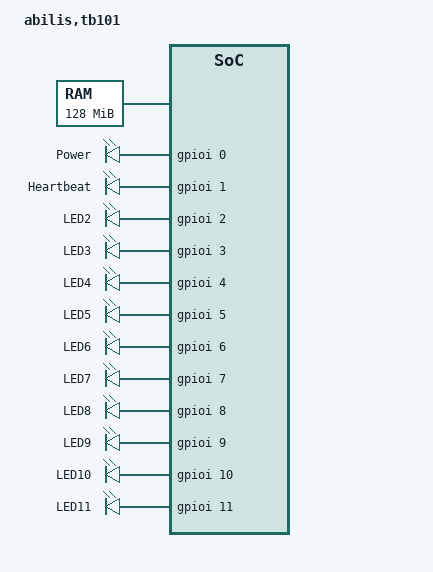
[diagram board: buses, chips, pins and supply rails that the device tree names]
// SPDX-License-Identifier: GPL-2.0-only
/*
 * Abilis Systems TB101 Development Kit PCB device tree
 *
 * Copyright (C) Abilis Systems 2013
 *
 * Author: Christian Ruppert <christian.ruppert@abilis.com>
 */

/dts-v1/;

/include/ "abilis_tb101.dtsi"

/ {
	model = "abilis,tb101";
	chosen {
		bootargs = "earlycon=uart8250,mmio32,0xff100000,9600n8 console=ttyS0,9600n8";
	};

	aliases { };

	memory {
		device_type = "memory";
		reg = <0x80000000 0x08000000>;	/* 128M */
	};

	soc100 {
		uart@ff100000 {
			pinctrl-names = "default";
			pinctrl-0 = <&pctl_uart0>;
		};
		ethernet@fe100000 {
			phy-mode = "rgmii";
		};

		i2c0: i2c@ff120000 {
			i2c-sda-hold-time-ns = <432>;
		};
		i2c1: i2c@ff121000 {
			i2c-sda-hold-time-ns = <432>;
		};
		i2c2: i2c@ff122000 {
			i2c-sda-hold-time-ns = <432>;
		};
		i2c3: i2c@ff123000 {
			i2c-sda-hold-time-ns = <432>;
		};
		i2c4: i2c@ff124000 {
			i2c-sda-hold-time-ns = <432>;
		};

		leds {
			compatible = "gpio-leds";
			power {
				label = "Power";
				gpios = <&gpioi 0 0>;
				linux,default-trigger = "default-on";
			};
			heartbeat {
				label = "Heartbeat";
				gpios = <&gpioi 1 0>;
				linux,default-trigger = "heartbeat";
			};
			led2 {
				label = "LED2";
				gpios = <&gpioi 2 0>;
				default-state = "off";
			};
			led3 {
				label = "LED3";
				gpios = <&gpioi 3 0>;
				default-state = "off";
			};
			led4 {
				label = "LED4";
				gpios = <&gpioi 4 0>;
				default-state = "off";
			};
			led5 {
				label = "LED5";
				gpios = <&gpioi 5 0>;
				default-state = "off";
			};
			led6 {
				label = "LED6";
				gpios = <&gpioi 6 0>;
				default-state = "off";
			};
			led7 {
				label = "LED7";
				gpios = <&gpioi 7 0>;
				default-state = "off";
			};
			led8 {
				label = "LED8";
				gpios = <&gpioi 8 0>;
				default-state = "off";
			};
			led9 {
				label = "LED9";
				gpios = <&gpioi 9 0>;
				default-state = "off";
			};
			led10 {
				label = "LED10";
				gpios = <&gpioi 10 0>;
				default-state = "off";
			};
			led11 {
				label = "LED11";
				gpios = <&gpioi 11 0>;
				default-state = "off";
			};
		};
	};
};
